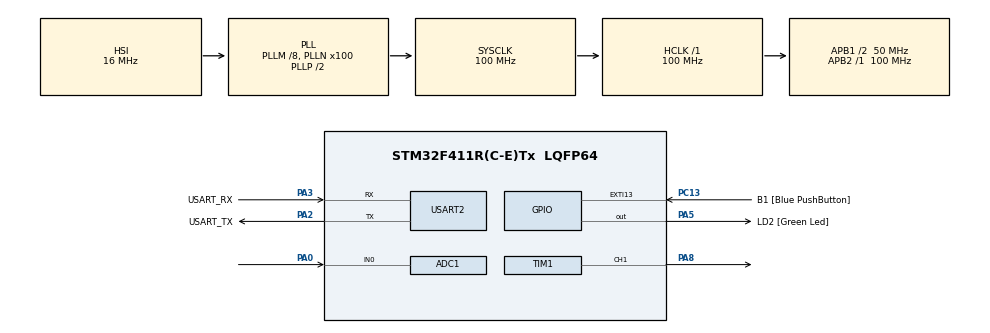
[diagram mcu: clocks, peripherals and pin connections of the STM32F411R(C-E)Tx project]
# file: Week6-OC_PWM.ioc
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ADC1.Channel-0\#ChannelRegularConversion=ADC_CHANNEL_0
ADC1.ExternalTrigConv=ADC_EXTERNALTRIGCONV_T3_TRGO
ADC1.NbrOfConversionFlag=1
ADC1.Rank-0\#ChannelRegularConversion=1
ADC1.SamplingTime-0\#ChannelRegularConversion=ADC_SAMPLETIME_28CYCLES
ADC1.master=1
Mcu.Family=STM32F4
Mcu.Name=STM32F411R(C-E)Tx
Mcu.Package=LQFP64
NVIC.ADC_IRQn=true\:0\:0\:false\:false\:true\:true\:true
NVIC.PriorityGroup=NVIC_PRIORITYGROUP_0
NVIC.TIM1_TRG_COM_TIM11_IRQn=true\:0\:0\:false\:false\:true\:true\:true
PA0-WKUP.Signal=ADCx_IN0
PA13.GPIO_Label=TMS
PA13.Mode=Serial_Wire
PA13.Signal=SYS_JTMS-SWDIO
PA14.GPIO_Label=TCK
PA14.Mode=Serial_Wire
PA14.Signal=SYS_JTCK-SWCLK
PA2.GPIO_Label=USART_TX
PA2.Mode=Asynchronous
PA2.Signal=USART2_TX
PA3.GPIO_Label=USART_RX
PA3.Mode=Asynchronous
PA3.Signal=USART2_RX
PA5.GPIO_Label=LD2 [Green Led]
PA5.Signal=GPIO_Output
PA8.Signal=S_TIM1_CH1
PB3.GPIO_Label=SWO
PB3.Signal=SYS_JTDO-SWO
PC13-ANTI_TAMP.GPIO_Label=B1 [Blue PushButton]
PC13-ANTI_TAMP.GPIO_ModeDefaultEXTI=GPIO_MODE_IT_FALLING
PC13-ANTI_TAMP.Signal=GPXTI13
PC14-OSC32_IN.Mode=LSE-External-Oscillator
PC14-OSC32_IN.Signal=RCC_OSC32_IN
PC15-OSC32_OUT.Mode=LSE-External-Oscillator
PC15-OSC32_OUT.Signal=RCC_OSC32_OUT
PH0\ -\ OSC_IN.Mode=HSE-External-Clock-Source
PH0\ -\ OSC_IN.Signal=RCC_OSC_IN
PH1\ -\ OSC_OUT.Mode=HSE-External-Clock-Source
PH1\ -\ OSC_OUT.Signal=RCC_OSC_OUT
ProjectManager.HeapSize=0x200
ProjectManager.StackSize=0x400
ProjectManager.TargetToolchain=STM32CubeIDE
RCC.48MHZClocksFreq_Value=50000000
RCC.AHBFreq_Value=100000000
RCC.APB1CLKDivider=RCC_HCLK_DIV2
RCC.APB1Freq_Value=50000000
RCC.APB1TimFreq_Value=100000000
RCC.APB2Freq_Value=100000000
RCC.APB2TimFreq_Value=100000000
RCC.CortexFreq_Value=100000000
RCC.FLatency-AdvancedSettings=FLASH_LATENCY_3
RCC.HCLKFreq_Value=100000000
RCC.HSE_VALUE=8000000
RCC.HSI_VALUE=16000000
RCC.PLLM=8
RCC.PLLN=100
RCC.SYSCLKFreq_VALUE=100000000
RCC.SYSCLKSource=RCC_SYSCLKSOURCE_PLLCLK
RCC.VCOOutputFreq_Value=200000000
SH.ADCx_IN0.0=ADC1_IN0,IN0
SH.S_TIM1_CH1.0=TIM1_CH1,PWM Generation1 CH1
TIM1.Channel-PWM\ Generation1\ CH1=TIM_CHANNEL_1
TIM1.Period=10000
TIM1.Pulse-PWM\ Generation1\ CH1=5000
TIM11.Prescaler=99
TIM3.Period=1000
TIM3.Prescaler=99
TIM3.TIM_MasterOutputTrigger=TIM_TRGO_UPDATE
USART2.VirtualMode=VM_ASYNC
VP_TIM11_VS_ClockSourceINT.Mode=Enable_Timer
VP_TIM1_VS_ClockSourceINT.Mode=Internal
VP_TIM3_VS_ClockSourceINT.Mode=Internal
board=NUCLEO-F411RE

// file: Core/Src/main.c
/* USER CODE BEGIN Header */
/**
 ******************************************************************************
 * @file           : main.c
 * @brief          : Main program body
 ******************************************************************************
 * @attention
 *
 * <h2><center>&copy; Copyright (c) 2021 STMicroelectronics.
 * All rights reserved.</center></h2>
 *
 * This software component is licensed by ST under BSD 3-Clause license,
 * the "License"; You may not use this file except in compliance with the
 * License. You may obtain a copy of the License at:
 *                        opensource.org/licenses/BSD-3-Clause
 *
 ******************************************************************************
 */
/* USER CODE END Header */
#include "main.h"

ADC_HandleTypeDef hadc1;

TIM_HandleTypeDef htim1;
TIM_HandleTypeDef htim3;
TIM_HandleTypeDef htim11;

UART_HandleTypeDef huart2;

/* USER CODE BEGIN PV */
float Voltage = 0;

uint8_t ADCUpdateFlag = 0;
uint16_t ADCFeedBack = 0;

uint16_t PWMOut = 5000.0;

uint64_t _micro = 0;
uint64_t TimeOutputLoop = 0;
/* USER CODE END PV */

void SystemClock_Config(void);
static void MX_GPIO_Init(void);
static void MX_USART2_UART_Init(void);
static void MX_ADC1_Init(void);
static void MX_TIM1_Init(void);
static void MX_TIM3_Init(void);
static void MX_TIM11_Init(void);
/* USER CODE BEGIN PFP */
void control_volt();
uint64_t micros();
/* USER CODE END PFP */

int main(void)
{

  /* MCU Configuration--------------------------------------------------------*/

  /* Reset of all peripherals, Initializes the Flash interface and the Systick. */
  HAL_Init();

  /* Configure the system clock */
  SystemClock_Config();

  /* Initialize all configured peripherals */
  MX_GPIO_Init();
  MX_USART2_UART_Init();
  MX_ADC1_Init();
  MX_TIM1_Init();
  MX_TIM3_Init();
  MX_TIM11_Init();
  /* USER CODE BEGIN 2 */
	//ADC Start
		HAL_ADC_Start_IT(&hadc1);
		HAL_TIM_Base_Start(&htim3);
	// start PWM
		HAL_TIM_Base_Start(&htim1);
		HAL_TIM_PWM_Start(&htim1, TIM_CHANNEL_1);

		HAL_TIM_Base_Start_IT(&htim11);

  /* USER CODE END 2 */

  /* Infinite loop */
	while (1) {

    /* USER CODE BEGIN 3 */

		//1 Khz Loop
		if (micros() - TimeOutputLoop > 1000) {
			TimeOutputLoop = micros();
			// #001
			control_volt();
			__HAL_TIM_SET_COMPARE(&htim1, TIM_CHANNEL_1, PWMOut);
			Voltage = (ADCFeedBack*3.3)/4096.0;
		}

		if (ADCUpdateFlag) {
			ADCUpdateFlag = 0;
			//#002
		}

	}
  /* USER CODE END 3 */
}

void SystemClock_Config(void)
{
  RCC_OscInitTypeDef RCC_OscInitStruct = {0};
  RCC_ClkInitTypeDef RCC_ClkInitStruct = {0};

  /** Configure the main internal regulator output voltage
  */
  __HAL_RCC_PWR_CLK_ENABLE();
  __HAL_PWR_VOLTAGESCALING_CONFIG(PWR_REGULATOR_VOLTAGE_SCALE1);
  /** Initializes the RCC Oscillators according to the specified parameters
  * in the RCC_OscInitTypeDef structure.
  */
  RCC_OscInitStruct.OscillatorType = RCC_OSCILLATORTYPE_HSI;
  RCC_OscInitStruct.HSIState = RCC_HSI_ON;
  RCC_OscInitStruct.HSICalibrationValue = RCC_HSICALIBRATION_DEFAULT;
  RCC_OscInitStruct.PLL.PLLState = RCC_PLL_ON;
  RCC_OscInitStruct.PLL.PLLSource = RCC_PLLSOURCE_HSI;
  RCC_OscInitStruct.PLL.PLLM = 8;
  RCC_OscInitStruct.PLL.PLLN = 100;
  RCC_OscInitStruct.PLL.PLLP = RCC_PLLP_DIV2;
  RCC_OscInitStruct.PLL.PLLQ = 4;
  if (HAL_RCC_OscConfig(&RCC_OscInitStruct) != HAL_OK)
  {
    Error_Handler();
  }
  /** Initializes the CPU, AHB and APB buses clocks
  */
  RCC_ClkInitStruct.ClockType = RCC_CLOCKTYPE_HCLK|RCC_CLOCKTYPE_SYSCLK
                              |RCC_CLOCKTYPE_PCLK1|RCC_CLOCKTYPE_PCLK2;
  RCC_ClkInitStruct.SYSCLKSource = RCC_SYSCLKSOURCE_PLLCLK;
  RCC_ClkInitStruct.AHBCLKDivider = RCC_SYSCLK_DIV1;
  RCC_ClkInitStruct.APB1CLKDivider = RCC_HCLK_DIV2;
  RCC_ClkInitStruct.APB2CLKDivider = RCC_HCLK_DIV1;

  if (HAL_RCC_ClockConfig(&RCC_ClkInitStruct, FLASH_LATENCY_3) != HAL_OK)
  {
    Error_Handler();
  }
}

static void MX_ADC1_Init(void)
{

  ADC_ChannelConfTypeDef sConfig = {0};

  /** Configure the global features of the ADC (Clock, Resolution, Data Alignment and number of conversion)
  */
  hadc1.Instance = ADC1;
  hadc1.Init.ClockPrescaler = ADC_CLOCK_SYNC_PCLK_DIV4;
  hadc1.Init.Resolution = ADC_RESOLUTION_12B;
  hadc1.Init.ScanConvMode = DISABLE;
  hadc1.Init.ContinuousConvMode = DISABLE;
  hadc1.Init.DiscontinuousConvMode = DISABLE;
  hadc1.Init.ExternalTrigConvEdge = ADC_EXTERNALTRIGCONVEDGE_RISING;
  hadc1.Init.ExternalTrigConv = ADC_EXTERNALTRIGCONV_T3_TRGO;
  hadc1.Init.DataAlign = ADC_DATAALIGN_RIGHT;
  hadc1.Init.NbrOfConversion = 1;
  hadc1.Init.DMAContinuousRequests = DISABLE;
  hadc1.Init.EOCSelection = ADC_EOC_SINGLE_CONV;
  if (HAL_ADC_Init(&hadc1) != HAL_OK)
  {
    Error_Handler();
  }
  /** Configure for the selected ADC regular channel its corresponding rank in the sequencer and its sample time.
  */
  sConfig.Channel = ADC_CHANNEL_0;
  sConfig.Rank = 1;
  sConfig.SamplingTime = ADC_SAMPLETIME_28CYCLES;
  if (HAL_ADC_ConfigChannel(&hadc1, &sConfig) != HAL_OK)
  {
    Error_Handler();
  }

}

static void MX_TIM1_Init(void)
{

  TIM_ClockConfigTypeDef sClockSourceConfig = {0};
  TIM_MasterConfigTypeDef sMasterConfig = {0};
  TIM_OC_InitTypeDef sConfigOC = {0};
  TIM_BreakDeadTimeConfigTypeDef sBreakDeadTimeConfig = {0};

  htim1.Instance = TIM1;
  htim1.Init.Prescaler = 0;
  htim1.Init.CounterMode = TIM_COUNTERMODE_UP;
  htim1.Init.Period = 10000;
  htim1.Init.ClockDivision = TIM_CLOCKDIVISION_DIV1;
  htim1.Init.RepetitionCounter = 0;
  htim1.Init.AutoReloadPreload = TIM_AUTORELOAD_PRELOAD_DISABLE;
  if (HAL_TIM_Base_Init(&htim1) != HAL_OK)
  {
    Error_Handler();
  }
  sClockSourceConfig.ClockSource = TIM_CLOCKSOURCE_INTERNAL;
  if (HAL_TIM_ConfigClockSource(&htim1, &sClockSourceConfig) != HAL_OK)
  {
    Error_Handler();
  }
  if (HAL_TIM_PWM_Init(&htim1) != HAL_OK)
  {
    Error_Handler();
  }
  sMasterConfig.MasterOutputTrigger = TIM_TRGO_RESET;
  sMasterConfig.MasterSlaveMode = TIM_MASTERSLAVEMODE_DISABLE;
  if (HAL_TIMEx_MasterConfigSynchronization(&htim1, &sMasterConfig) != HAL_OK)
  {
    Error_Handler();
  }
  sConfigOC.OCMode = TIM_OCMODE_PWM1;
  sConfigOC.Pulse = 5000;
  sConfigOC.OCPolarity = TIM_OCPOLARITY_HIGH;
  sConfigOC.OCNPolarity = TIM_OCNPOLARITY_HIGH;
  sConfigOC.OCFastMode = TIM_OCFAST_DISABLE;
  sConfigOC.OCIdleState = TIM_OCIDLESTATE_RESET;
  sConfigOC.OCNIdleState = TIM_OCNIDLESTATE_RESET;
  if (HAL_TIM_PWM_ConfigChannel(&htim1, &sConfigOC, TIM_CHANNEL_1) != HAL_OK)
  {
    Error_Handler();
  }
  sBreakDeadTimeConfig.OffStateRunMode = TIM_OSSR_DISABLE;
  sBreakDeadTimeConfig.OffStateIDLEMode = TIM_OSSI_DISABLE;
  sBreakDeadTimeConfig.LockLevel = TIM_LOCKLEVEL_OFF;
  sBreakDeadTimeConfig.DeadTime = 0;
  sBreakDeadTimeConfig.BreakState = TIM_BREAK_DISABLE;
  sBreakDeadTimeConfig.BreakPolarity = TIM_BREAKPOLARITY_HIGH;
  sBreakDeadTimeConfig.AutomaticOutput = TIM_AUTOMATICOUTPUT_DISABLE;
  if (HAL_TIMEx_ConfigBreakDeadTime(&htim1, &sBreakDeadTimeConfig) != HAL_OK)
  {
    Error_Handler();
  }
  HAL_TIM_MspPostInit(&htim1);

}

static void MX_TIM3_Init(void)
{

  TIM_ClockConfigTypeDef sClockSourceConfig = {0};
  TIM_MasterConfigTypeDef sMasterConfig = {0};

  htim3.Instance = TIM3;
  htim3.Init.Prescaler = 99;
  htim3.Init.CounterMode = TIM_COUNTERMODE_UP;
  htim3.Init.Period = 1000;
  htim3.Init.ClockDivision = TIM_CLOCKDIVISION_DIV1;
  htim3.Init.AutoReloadPreload = TIM_AUTORELOAD_PRELOAD_DISABLE;
  if (HAL_TIM_Base_Init(&htim3) != HAL_OK)
  {
    Error_Handler();
  }
  sClockSourceConfig.ClockSource = TIM_CLOCKSOURCE_INTERNAL;
  if (HAL_TIM_ConfigClockSource(&htim3, &sClockSourceConfig) != HAL_OK)
  {
    Error_Handler();
  }
  sMasterConfig.MasterOutputTrigger = TIM_TRGO_UPDATE;
  sMasterConfig.MasterSlaveMode = TIM_MASTERSLAVEMODE_DISABLE;
  if (HAL_TIMEx_MasterConfigSynchronization(&htim3, &sMasterConfig) != HAL_OK)
  {
    Error_Handler();
  }

}

static void MX_TIM11_Init(void)
{

  htim11.Instance = TIM11;
  htim11.Init.Prescaler = 99;
  htim11.Init.CounterMode = TIM_COUNTERMODE_UP;
  htim11.Init.Period = 65535;
  htim11.Init.ClockDivision = TIM_CLOCKDIVISION_DIV1;
  htim11.Init.AutoReloadPreload = TIM_AUTORELOAD_PRELOAD_DISABLE;
  if (HAL_TIM_Base_Init(&htim11) != HAL_OK)
  {
    Error_Handler();
  }

}

static void MX_USART2_UART_Init(void)
{

  huart2.Instance = USART2;
  huart2.Init.BaudRate = 115200;
  huart2.Init.WordLength = UART_WORDLENGTH_8B;
  huart2.Init.StopBits = UART_STOPBITS_1;
  huart2.Init.Parity = UART_PARITY_NONE;
  huart2.Init.Mode = UART_MODE_TX_RX;
  huart2.Init.HwFlowCtl = UART_HWCONTROL_NONE;
  huart2.Init.OverSampling = UART_OVERSAMPLING_16;
  if (HAL_UART_Init(&huart2) != HAL_OK)
  {
    Error_Handler();
  }

}

static void MX_GPIO_Init(void)
{
  GPIO_InitTypeDef GPIO_InitStruct = {0};

  /* GPIO Ports Clock Enable */
  __HAL_RCC_GPIOC_CLK_ENABLE();
  __HAL_RCC_GPIOH_CLK_ENABLE();
  __HAL_RCC_GPIOA_CLK_ENABLE();
  __HAL_RCC_GPIOB_CLK_ENABLE();

  /*Configure GPIO pin Output Level */
  HAL_GPIO_WritePin(LD2_GPIO_Port, LD2_Pin, GPIO_PIN_RESET);

  /*Configure GPIO pin : B1_Pin */
  GPIO_InitStruct.Pin = B1_Pin;
  GPIO_InitStruct.Mode = GPIO_MODE_IT_FALLING;
  GPIO_InitStruct.Pull = GPIO_NOPULL;
  HAL_GPIO_Init(B1_GPIO_Port, &GPIO_InitStruct);

  /*Configure GPIO pin : LD2_Pin */
  GPIO_InitStruct.Pin = LD2_Pin;
  GPIO_InitStruct.Mode = GPIO_MODE_OUTPUT_PP;
  GPIO_InitStruct.Pull = GPIO_NOPULL;
  GPIO_InitStruct.Speed = GPIO_SPEED_FREQ_LOW;
  HAL_GPIO_Init(LD2_GPIO_Port, &GPIO_InitStruct);

}

/* USER CODE BEGIN 4 */
//ทุกครั้งที่ ADC ทำงานสำเร็จแล้วก็จะเข้ามาฟังก์ชั่นนี้ คือ เก็บค่าที่มันอ่านได้
void HAL_ADC_ConvCpltCallback(ADC_HandleTypeDef *hadc) {
	ADCFeedBack = HAL_ADC_GetValue(&hadc1);
	ADCUpdateFlag = 1;

}
void HAL_TIM_PeriodElapsedCallback(TIM_HandleTypeDef *htim) {
	if (htim == &htim11) {
		_micro += 65535;
	}
}
//ADCFeedback Target or 1V = (1v*4096.0)/3.3v;
void control_volt(){
	 float KP=10,KI=0.2,KD=2;
		 static float ErrorValue,Summary_ErrorValue,Last_ErrorValue;
		 ErrorValue = 1241.2 - ADCFeedBack;
		 Summary_ErrorValue += ErrorValue;
		 PWMOut = KP*ErrorValue + KI*Summary_ErrorValue + KD*(ErrorValue-Last_ErrorValue);
		 Last_ErrorValue=ErrorValue;

}

__inline__ uint64_t micros() {
	return _micro + htim11.Instance->CNT;
}
/* USER CODE END 4 */

void Error_Handler(void)
{
	__disable_irq();
	while (1) {
	}
}

/************************ (C) COPYRIGHT STMicroelectronics *****END OF FILE****/
